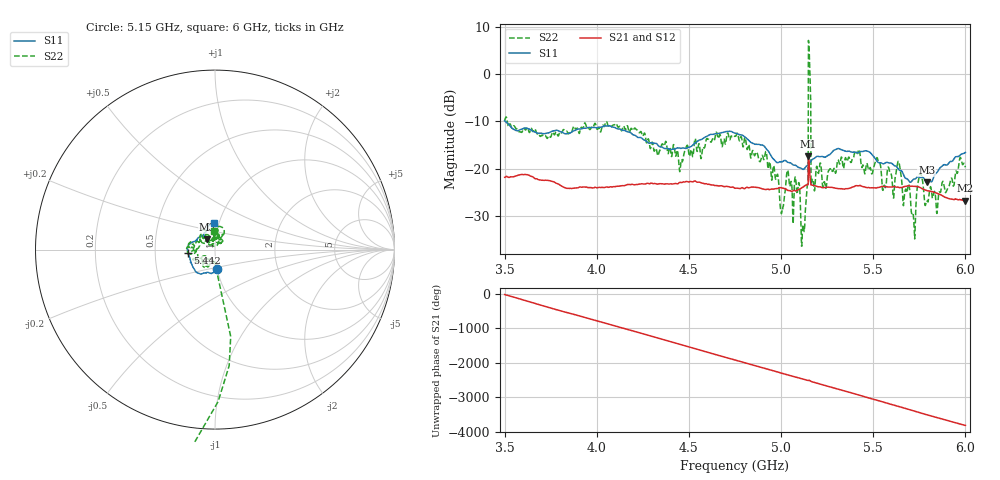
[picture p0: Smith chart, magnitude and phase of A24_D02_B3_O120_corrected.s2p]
! Created with skrf 1.9.0 (http://scikit-rf.org).
# Hz S RI R 50.0
!freq ReS11 ImS11 ReS21 ImS21 ReS12 ImS12 ReS22 ImS22
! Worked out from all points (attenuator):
!   1601 points, 3.5 GHz to 6 GHz, reference 50 ohm
!   highest |S21| = -17.40 dB at 5.148 GHz (marker M1); lowest = -26.8 dB at 6 GHz (marker M2)
!   lowest |S11| = -22.9 dB at 5.791 GHz (marker M3), VSWR 1.15, Z = 45.5 + j5.23 ohm
!   |S11| at or under -10 dB: 3.504 GHz to end of sweep
!   |S22| runs from -36.4 to 7.1 dB; largest |S21 - S12| = 0.001
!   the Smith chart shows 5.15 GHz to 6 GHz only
!   S11 on the Smith chart (normalised r, x): 5.15 GHz: 0.99, -0.22; 5.442 GHz: 0.74, -0.03; 6 GHz: 0.94, +0.29
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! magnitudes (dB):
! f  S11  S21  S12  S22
! 3.5 GHz  -9.9  -21.8  -21.8  -9.9
! 3.917 GHz  -11.6  -23.9  -23.9  -11.2
! 4.334 GHz  -15.1  -23.2  -23.2  -17.0
! 4.75 GHz  -12.5  -24.1  -24.0  -13.2
! 4.912 GHz  -15.4  -24.4  -24.3  -17.1
! 5.005 GHz  -18.5  -24.0  -24.0  -29.0
! 5.034 GHz  -18.6  -24.6  -24.5  -20.3
! 5.088 GHz  -19.5  -24.6  -24.6  -25.3
! 5.119 GHz  -20.1  -23.9  -23.8  -31.8
! 5.134 GHz  -19.6  -23.5  -23.4  -27.2
! 5.148 GHz  -19.1  -17.4  -17.4  7.1
! 5.15 GHz  -19.1  -17.9  -17.9  6.7
! 5.161 GHz  -18.4  -23.0  -22.9  -6.2
! 5.167 GHz  -18.1  -23.5  -23.4  -22.7
! 5.175 GHz  -17.9  -23.5  -23.5  -22.6
! 5.442 GHz  -16.4  -23.8  -23.7  -19.3
! 5.584 GHz  -18.8  -23.9  -23.8  -19.8
! 5.639 GHz  -20.2  -24.0  -23.9  -18.5
! 5.717 GHz  -22.3  -23.7  -23.6  -29.7
! 5.753 GHz  -21.8  -24.0  -23.9  -21.1
! 5.791 GHz  -22.9  -24.6  -24.6  -26.8
! 6 GHz  -16.5  -26.8  -26.7  -19.7
